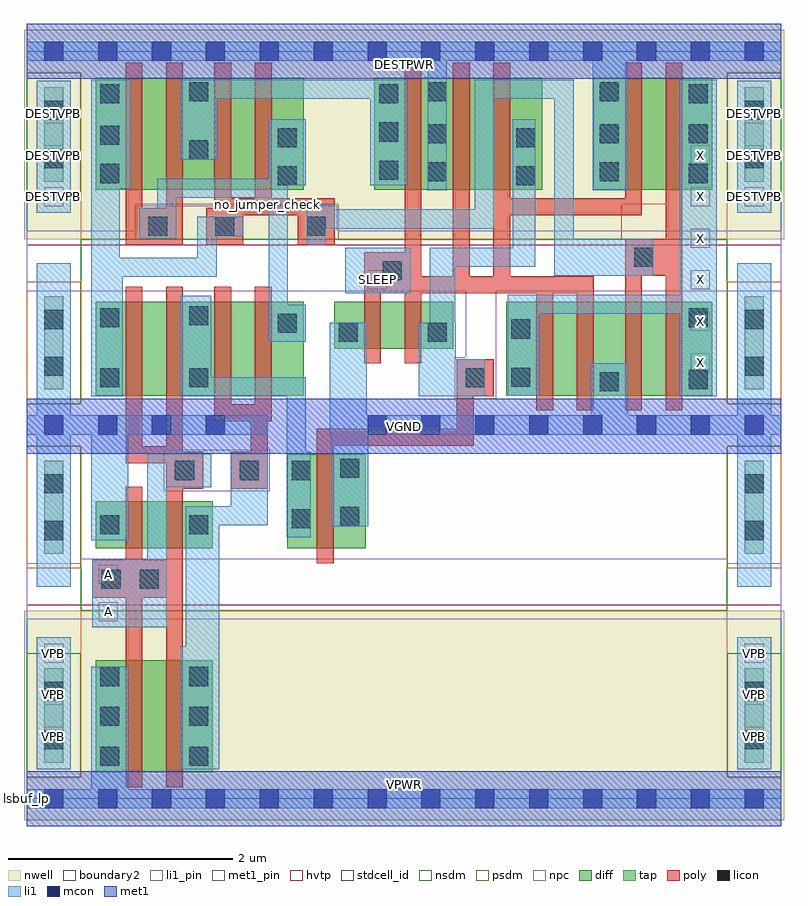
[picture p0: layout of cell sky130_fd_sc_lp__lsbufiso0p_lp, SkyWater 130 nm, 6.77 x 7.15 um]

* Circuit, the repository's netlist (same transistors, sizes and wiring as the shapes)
* Copyright 2020 The SkyWater PDK Authors
*
* Licensed under the Apache License, Version 2.0 (the "License");
* you may not use this file except in compliance with the License.
* You may obtain a copy of the License at
*
*     https://www.apache.org/licenses/LICENSE-2.0
*
* Unless required by applicable law or agreed to in writing, software
* distributed under the License is distributed on an "AS IS" BASIS,
* WITHOUT WARRANTIES OR CONDITIONS OF ANY KIND, either express or implied.
* See the License for the specific language governing permissions and
* limitations under the License.
*
* SPDX-License-Identifier: Apache-2.0

.SUBCKT sky130_fd_sc_lp__lsbufiso0p_lp A DESTPWR DESTVPB SLEEP VGND VPB VPWR X
*.PININFO A:I DESTPWR:I DESTVPB:I SLEEP:I VGND:I VPB:I VPWR:I X:O
MI2 cross2 cross1 sndP1a DESTVPB sky130_fd_pr__pfet_01v8_hvt m=1 w=1.0U l=0.15U mult=1
+ sa=0.265 sb=0.265 sd=0.28 area=0.063 perim=1.14
MI3 cross1 cross2 sndP2a DESTVPB sky130_fd_pr__pfet_01v8_hvt m=1 w=1.0U l=0.15U mult=1
+ sa=0.265 sb=0.265 sd=0.28 area=0.063 perim=1.14
MI18 sndP1a cross1 net84 DESTVPB sky130_fd_pr__pfet_01v8_hvt m=1 w=1.0U l=0.15U mult=1
+ sa=0.265 sb=0.265 sd=0.28 area=0.063 perim=1.14
MI20 Ab A net80 VPB sky130_fd_pr__pfet_01v8_hvt m=1 w=1.0U l=0.15U mult=1 sa=0.265
+ sb=0.265 sd=0.28 area=0.063 perim=1.14
MI7 net80 A VPWR VPB sky130_fd_pr__pfet_01v8_hvt m=1 w=1.0U l=0.15U mult=1 sa=0.265
+ sb=0.265 sd=0.28 area=0.063 perim=1.14
MI15 net73 SLEEP DESTPWR DESTVPB sky130_fd_pr__pfet_01v8_hvt m=1 w=1.0U l=0.15U mult=1
+ sa=0.265 sb=0.265 sd=0.28 area=0.063 perim=1.14
MI34 sleepb SLEEP net68 DESTVPB sky130_fd_pr__pfet_01v8_hvt m=1 w=1.0U l=0.15U mult=1
+ sa=0.265 sb=0.265 sd=0.28 area=0.063 perim=1.14
MI33 net68 SLEEP DESTPWR DESTVPB sky130_fd_pr__pfet_01v8_hvt m=1 w=1.0U l=0.15U mult=1
+ sa=0.265 sb=0.265 sd=0.28 area=0.063 perim=1.14
MI19 sndP2a cross2 net84 DESTVPB sky130_fd_pr__pfet_01v8_hvt m=1 w=1.0U l=0.15U mult=1
+ sa=0.265 sb=0.265 sd=0.28 area=0.063 perim=1.14
MI29 net84 SLEEP DESTPWR DESTVPB sky130_fd_pr__pfet_01v8_hvt m=1 w=1.0U l=0.15U mult=1
+ sa=0.265 sb=0.265 sd=0.28 area=0.063 perim=1.14
MI24 X cross2 net73 DESTVPB sky130_fd_pr__pfet_01v8_hvt m=1 w=1.0U l=0.15U mult=1
+ sa=0.265 sb=0.265 sd=0.28 area=0.063 perim=1.14
MI5 cross1 Ab net105 VGND sky130_fd_pr__nfet_01v8 m=1 w=0.84U l=0.15U mult=1 sa=0.265
+ sb=0.265 sd=0.28 area=0.063 perim=1.14
MI4 cross2 A net113 VGND sky130_fd_pr__nfet_01v8 m=1 w=0.84U l=0.15U mult=1 sa=0.265
+ sb=0.265 sd=0.28 area=0.063 perim=1.14
MI8 net137 A VGND VGND sky130_fd_pr__nfet_01v8 m=1 w=0.42U l=0.15U mult=1 sa=0.265
+ sb=0.265 sd=0.28 area=0.063 perim=1.14
MI16 net100 cross2 VGND VGND sky130_fd_pr__nfet_01v8 m=1 w=0.84U l=0.15U mult=1
+ sa=0.265 sb=0.265 sd=0.28 area=0.063 perim=1.14
MI36 net129 SLEEP VGND VGND sky130_fd_pr__nfet_01v8 m=1 w=0.42U l=0.15U mult=1
+ sa=0.265 sb=0.265 sd=0.28 area=0.063 perim=1.14
MI35 sleepb SLEEP net129 VGND sky130_fd_pr__nfet_01v8 m=1 w=0.42U l=0.15U mult=1
+ sa=0.265 sb=0.265 sd=0.28 area=0.063 perim=1.14
MI23 Ab A net137 VGND sky130_fd_pr__nfet_01v8 m=1 w=0.42U l=0.15U mult=1 sa=0.265
+ sb=0.265 sd=0.28 area=0.063 perim=1.14
MI32 net108 SLEEP VGND VGND sky130_fd_pr__nfet_01v8 m=1 w=0.84U l=0.15U mult=1
+ sa=0.265 sb=0.265 sd=0.28 area=0.063 perim=1.14
MI21 net113 A net112 VGND sky130_fd_pr__nfet_01v8 m=1 w=0.84U l=0.15U mult=1 sa=0.265
+ sb=0.265 sd=0.28 area=0.063 perim=1.14
MI31 X SLEEP net108 VGND sky130_fd_pr__nfet_01v8 m=1 w=0.84U l=0.15U mult=1 sa=0.265
+ sb=0.265 sd=0.28 area=0.063 perim=1.14
MI22 net105 Ab net112 VGND sky130_fd_pr__nfet_01v8 m=1 w=0.84U l=0.15U mult=1 sa=0.265
+ sb=0.265 sd=0.28 area=0.063 perim=1.14
MI25 X cross2 net100 VGND sky130_fd_pr__nfet_01v8 m=1 w=0.84U l=0.15U mult=1 sa=0.265
+ sb=0.265 sd=0.28 area=0.063 perim=1.14
MI27 net112 sleepb VGND VGND sky130_fd_pr__nfet_01v8 m=1 w=0.84U l=0.15U mult=1
+ sa=0.265 sb=0.265 sd=0.28 area=0.063 perim=1.14
.ENDS sky130_fd_sc_lp__lsbufiso0p_lp

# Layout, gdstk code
import gdstk
lib = gdstk.Library(unit=1e-6, precision=1e-09)
def R(c, l, rs):  # rectangles x0, y0, x1, y1
    for r in rs: c.add(gdstk.rectangle(r[:2], r[2:], *l))
def A(c, l, x, y, w, h, nx, ny, dx, dy):  # array of equal rectangles
    R(c, l, [(x+i*dx, y+j*dy, x+i*dx+w, y+j*dy+h) for i in range(nx) for j in range(ny)])
def P(c, l, *ps):  # polygons
    for p in ps: c.add(gdstk.Polygon(p, *l))
nwell = (64, 20)
diff = (65, 20)
tap = (65, 44)
poly = (66, 20)
licon = (66, 44)
li1_pin = (67, 16)
li1 = (67, 20)
mcon = (67, 44)
met1_pin = (68, 16)
met1 = (68, 20)
hvtp = (78, 44)
stdcell_id = (81, 4)
nsdm = (93, 44)
psdm = (94, 20)
npc = (95, 20)
boundary2 = (236, 0)

sky130_fd_sc_lp__lsbufis = lib.new_cell('sky130_fd_sc_lp__lsbufiso0p_lp')
R(sky130_fd_sc_lp__lsbufis, nwell, [(-0.025,-0.19,6.745,1.675), (-0.025,4.985,6.745,6.85)])
R(sky130_fd_sc_lp__lsbufis, diff, [(0.615,0.235,1.655,1.235), (0.615,2.23,1.655,2.65), (2.32,2.23,3.02,3.07), (0.615,3.59,2.465,4.43), (4.27,3.59,6.105,4.43), (2.74,4.01,3.8,4.43), (0.615,5.425,2.465,6.425), (3.095,5.425,4.59,6.425), (5.045,5.425,6.105,6.425)])
R(sky130_fd_sc_lp__lsbufis, tap, [(0.155,0.32,0.325,1.165), (6.395,0.32,6.565,1.165), (0.155,2.185,0.325,3.01), (6.395,2.185,6.565,3.01), (0.155,3.65,0.325,4.475), (6.395,3.65,6.565,4.475), (0.155,5.495,0.325,6.34), (6.395,5.495,6.565,6.34)])
P(sky130_fd_sc_lp__lsbufis, poly, [(1.39,6.555),(1.24,6.555),(1.24,5.265),(1.03,5.265),(1.03,6.555),(0.88,6.555),(0.88,4.935),(1.39,4.935)],
  [(1.57,3.09),(1.39,3.09),(1.39,4.56),(1.24,4.56),(1.24,3.14),(1.03,3.14),(1.03,4.56),(0.88,4.56),(0.88,2.99),(1.24,2.99),(1.24,2.13),(1.03,2.13),(1.03,2.78),(0.88,2.78),(0.88,2.13),(0.585,2.13),(0.585,1.79),(0.88,1.79),(0.88,0.105),(1.03,0.105),(1.03,1.79),(1.24,1.79),(1.24,0.105),(1.39,0.105),(1.39,2.76),(1.57,2.76)],
  [(2.18,4.56),(2.03,4.56),(2.03,3.515),(1.82,3.515),(1.82,4.56),(1.67,4.56),(1.67,3.365),(1.995,3.365),(1.995,3.09),(1.815,3.09),(1.815,2.76),(2.145,2.76),(2.145,3.365),(2.18,3.365)],
  [(2.745,5.35),(2.18,5.35),(2.18,6.555),(2.03,6.555),(2.03,5.35),(1.82,5.35),(1.82,6.555),(1.67,6.555),(1.67,5.265),(1.6,5.265),(1.6,4.935),(1.93,4.935),(1.93,5.2),(2.415,5.2),(2.415,4.935),(2.745,4.935)],
  [(4.16,3.915),(3.83,3.915),(3.83,3.295),(2.585,3.295),(2.585,2.1),(2.735,2.1),(2.735,3.145),(3.98,3.145),(3.98,3.585),(4.16,3.585)],
  [(5.48,6.555),(5.33,6.555),(5.33,5.35),(4.305,5.35),(4.305,6.555),(4.155,6.555),(4.155,4.655),(3.945,4.655),(3.945,6.555),(3.795,6.555),(3.795,4.655),(3.515,4.655),(3.515,6.555),(3.365,6.555),(3.365,4.87),(3.005,4.87),(3.005,3.88),(3.155,3.88),(3.155,4.505),(3.365,4.505),(3.365,3.88),(3.515,3.88),(3.515,4.505),(4.54,4.505),(4.54,3.46),(4.69,3.46),(4.69,4.505),(4.9,4.505),(4.9,3.46),(5.05,3.46),(5.05,4.655),(4.305,4.655),(4.305,5.2),(5.48,5.2)],
  [(5.84,6.555),(5.69,6.555),(5.69,4.99),(5.33,4.99),(5.33,3.46),(5.48,3.46),(5.48,4.66),(5.69,4.66),(5.69,3.46),(5.84,3.46)])
A(sky130_fd_sc_lp__lsbufis, licon, 0.655, 0.295, 0.17, 0.17, 1, 3, 0, 0.355)
A(sky130_fd_sc_lp__lsbufis, licon, 1.445, 0.295, 0.17, 0.17, 1, 3, 0, 0.355)
A(sky130_fd_sc_lp__lsbufis, licon, 5.895, 5.485, 0.17, 0.17, 1, 3, 0, 0.355)
A(sky130_fd_sc_lp__lsbufis, licon, 3.14, 5.515, 0.17, 0.17, 1, 3, 0, 0.34)
R(sky130_fd_sc_lp__lsbufis, licon, [(0.155,0.44,0.325,0.61), (6.395,0.44,6.565,0.61), (0.155,0.875,0.325,1.045), (6.395,0.875,6.565,1.045), (0.665,1.87,0.835,2.04), (1.005,1.87,1.175,2.04), (0.155,2.305,0.325,2.475), (6.395,2.305,6.565,2.475), (0.655,2.355,0.825,2.525), (1.445,2.355,1.615,2.525), (2.36,2.41,2.53,2.58), (2.79,2.43,2.96,2.6), (0.155,2.72,0.325,2.89), (6.395,2.72,6.565,2.89), (1.32,2.84,1.49,3.01), (1.895,2.84,2.065,3.01), (2.36,2.84,2.53,3.01), (2.79,2.86,2.96,3.03), (5.105,3.63,5.275,3.8), (5.895,3.65,6.065,3.82), (0.655,3.665,0.825,3.835), (1.445,3.665,1.615,3.835), (3.91,3.665,4.08,3.835), (4.315,3.67,4.485,3.84), (0.155,3.77,0.325,3.94), (6.395,3.77,6.565,3.94), (2.78,4.07,2.95,4.24), (3.57,4.07,3.74,4.24), (4.315,4.1,4.485,4.27), (2.235,4.15,2.405,4.32), (0.155,4.185,0.325,4.355), (6.395,4.185,6.565,4.355), (0.655,4.2,0.825,4.37), (5.895,4.2,6.065,4.37), (1.445,4.22,1.615,4.39), (3.17,4.62,3.34,4.79), (5.41,4.74,5.58,4.91), (1.08,5.015,1.25,5.185), (1.68,5.015,1.85,5.185), (2.495,5.015,2.665,5.185), (2.235,5.465,2.405,5.635), (4.36,5.465,4.53,5.635), (0.655,5.485,0.825,5.655), (3.57,5.5,3.74,5.67), (5.105,5.5,5.275,5.67), (0.155,5.615,0.325,5.785), (6.395,5.615,6.565,5.785), (1.445,5.695,1.615,5.865), (2.235,5.805,2.405,5.975), (4.36,5.805,4.53,5.975), (0.655,5.825,0.825,5.995), (3.57,5.84,3.74,6.01), (5.105,5.84,5.275,6.01), (0.155,6.05,0.325,6.22), (6.395,6.05,6.565,6.22), (0.655,6.195,0.825,6.365), (1.445,6.215,1.615,6.385), (3.57,6.215,3.74,6.385), (5.105,6.215,5.275,6.385)])
A(sky130_fd_sc_lp__lsbufis, li1_pin, 0.155, 0.47, 0.17, 0.17, 1, 3, 0, 0.37)
A(sky130_fd_sc_lp__lsbufis, li1_pin, 6.395, 0.47, 0.17, 0.17, 1, 3, 0, 0.37)
A(sky130_fd_sc_lp__lsbufis, li1_pin, 5.915, 3.8, 0.17, 0.17, 1, 6, 0, 0.37)
A(sky130_fd_sc_lp__lsbufis, li1_pin, 0.155, 5.28, 0.17, 0.17, 1, 3, 0, 0.37)
A(sky130_fd_sc_lp__lsbufis, li1_pin, 6.395, 5.28, 0.17, 0.17, 1, 3, 0, 0.37)
R(sky130_fd_sc_lp__lsbufis, li1_pin, [(0.64,1.58,0.81,1.75), (0.64,1.915,0.81,2.085), (3.035,4.54,3.205,4.71)])
R(sky130_fd_sc_lp__lsbufis, li1, [(0.09,0.265,0.39,1.44), (6.33,0.265,6.63,1.44), (2.835,4.505,3.42,4.91), (0.09,5.22,0.39,6.395), (6.33,5.22,6.63,6.395)])
P(sky130_fd_sc_lp__lsbufis, li1, [(6.72,0.085),(0.905,0.085),(0.905,1.175),(0.575,1.175),(0.575,0.085),(0,0.085),(0,-0.085),(6.72,-0.085)],
  [(1.93,5.185),(1.52,5.185),(1.52,4.82),(0.83,4.82),(0.83,5.435),(0.925,5.435),(0.925,6.405),(0.575,6.405),(0.575,3.585),(0.855,3.585),(0.855,4.65),(1.69,4.65),(1.69,5.01),(1.93,5.01)],
  [(2.145,3.415),(0.39,3.415),(0.39,4.77),(0.09,4.77),(0.09,3.415),(0,3.415),(0,3.245),(0.09,3.245),(0.09,1.89),(0.39,1.89),(0.39,3.245),(0.575,3.245),(0.575,2.305),(0.905,2.305),(0.905,3.245),(2.145,3.245)],
  [(2.145,3.075),(1.815,3.075),(1.815,2.605),(1.415,2.605),(1.415,1.36),(1.365,1.36),(1.365,0.265),(1.715,0.265),(1.715,2.435),(2.145,2.435)],
  [(2.485,4.4),(2.325,4.4),(2.325,5.465),(2.485,5.465),(2.485,6.055),(2.155,6.055),(2.155,5.525),(1.16,5.525),(1.16,5.265),(1,5.265),(1,4.99),(1.33,4.99),(1.33,5.355),(2.155,5.355),(2.155,4.07),(2.485,4.07)],
  [(2.53,3.09),(2.485,3.09),(2.485,3.755),(1.645,3.755),(1.645,4.48),(1.365,4.48),(1.365,3.585),(2.315,3.585),(2.315,2.33),(2.53,2.33)],
  [(3.39,6.405),(1.365,6.405),(1.365,5.695),(1.695,5.695),(1.695,6.235),(3.06,6.235),(3.06,5.465),(3.39,5.465)],
  [(4.53,6.055),(4.33,6.055),(4.33,4.91),(3.59,4.91),(3.59,4.24),(3.49,4.24),(3.49,3.585),(4.08,3.585),(4.08,3.915),(3.82,3.915),(3.82,4.24),(3.815,4.24),(3.815,4.74),(4.53,4.74)],
  [(5.58,4.99),(4.87,4.99),(4.87,6.405),(3.99,6.405),(3.99,5.25),(2.745,5.25),(2.745,5.295),(2.495,5.295),(2.495,4.935),(2.665,4.935),(2.665,5.08),(4.16,5.08),(4.16,6.235),(4.7,6.235),(4.7,4.66),(5.58,4.66)],
  [(1.645,3.075),(1.075,3.075),(1.075,2.135),(0.585,2.135),(0.585,1.53),(1.245,1.53),(1.245,2.775),(1.645,2.775)],
  [(6.72,6.745),(0,6.745),(0,6.575),(3.57,6.575),(3.57,5.42),(3.74,5.42),(3.74,6.575),(5.04,6.575),(5.04,5.42),(5.355,5.42),(5.355,6.575),(6.72,6.575)],
  [(6.72,3.415),(6.63,3.415),(6.63,4.77),(6.33,4.77),(6.33,3.415),(5.355,3.415),(5.355,3.88),(5.025,3.88),(5.025,3.415),(3.03,3.415),(3.03,4.24),(2.7,4.24),(2.7,3.245),(2.71,3.245),(2.71,2.43),(3.04,2.43),(3.04,3.245),(6.33,3.245),(6.33,1.89),(6.63,1.89),(6.63,3.245),(6.72,3.245)],
  [(6.145,6.405),(5.815,6.405),(5.815,4.49),(4.285,4.49),(4.285,3.59),(4.565,3.59),(4.565,4.32),(5.815,4.32),(5.815,3.585),(6.145,3.585)])
A(sky130_fd_sc_lp__lsbufis, mcon, 0.155, -0.085, 0.17, 0.17, 14, 2, 0.48, 6.66)
A(sky130_fd_sc_lp__lsbufis, mcon, 0.155, 3.245, 0.17, 0.17, 4, 1, 0.48, 0)
A(sky130_fd_sc_lp__lsbufis, mcon, 3.035, 3.245, 0.17, 0.17, 8, 1, 0.48, 0)
R(sky130_fd_sc_lp__lsbufis, met1_pin, [(0,0,6.72,0.245), (0,3.075,6.72,3.565), (0,6.415,6.72,6.66)])
R(sky130_fd_sc_lp__lsbufis, met1, [(0,-0.245,6.72,0.245), (0,3.075,6.72,3.565), (0,6.415,6.72,6.905)])
R(sky130_fd_sc_lp__lsbufis, hvtp, [(0,0,6.72,1.73), (0,4.93,6.72,6.66)])
R(sky130_fd_sc_lp__lsbufis, stdcell_id, [(0,0,6.72,6.66)])
R(sky130_fd_sc_lp__lsbufis, nsdm, [(0,0.19,0.48,1.295), (6.24,0.19,6.72,1.295), (0,5.365,0.48,6.47), (6.24,5.365,6.72,6.47)])
P(sky130_fd_sc_lp__lsbufis, nsdm, [(6.72,3.52),(6.24,3.52),(6.24,4.985),(0.48,4.985),(0.48,3.52),(0,3.52),(0,3.14),(0.48,3.14),(0.48,1.675),(6.24,1.675),(6.24,3.14),(6.72,3.14)])
R(sky130_fd_sc_lp__lsbufis, psdm, [(0,2.055,0.48,3.14), (6.24,2.055,6.72,3.14), (0,3.52,0.48,4.605), (6.24,3.52,6.72,4.605)])
P(sky130_fd_sc_lp__lsbufis, psdm, [(6.72,6.85),(0,6.85),(0,6.47),(0.48,6.47),(0.48,4.985),(0.97,4.985),(0.97,5.295),(2.775,5.295),(2.775,4.985),(5.3,4.985),(5.3,5.295),(5.69,5.295),(5.69,4.985),(6.24,4.985),(6.24,6.47),(6.72,6.47)],
  [(6.72,0.19),(6.24,0.19),(6.24,1.675),(0.48,1.675),(0.48,0.19),(0,0.19),(0,-0.19),(6.72,-0.19)])
R(sky130_fd_sc_lp__lsbufis, npc, [(1.22,2.74,2.165,3.11)])
P(sky130_fd_sc_lp__lsbufis, npc, [(6.72,5.06),(2.765,5.06),(2.765,5.285),(0.98,5.285),(0.98,5.06),(0,5.06),(0,4.52),(3.91,4.52),(3.91,3.935),(3.81,3.935),(3.81,3.565),(4.18,3.565),(4.18,4.52),(6.72,4.52)],
  [(6.72,2.1),(6.24,2.1),(6.24,2.14),(0.48,2.14),(0.48,2.1),(0,2.1),(0,1.6),(6.72,1.6)])
R(sky130_fd_sc_lp__lsbufis, boundary2, [(0,0,6.72,6.66)])
sky130_fd_sc_lp__lsbufis.add(gdstk.Label('X', (6,3.885), layer=67, texttype=5))
sky130_fd_sc_lp__lsbufis.add(gdstk.Label('X', (6,4.255), layer=67, texttype=5))
sky130_fd_sc_lp__lsbufis.add(gdstk.Label('X', (6,5.735), layer=67, texttype=5))
sky130_fd_sc_lp__lsbufis.add(gdstk.Label('X', (6,5.365), layer=67, texttype=5))
sky130_fd_sc_lp__lsbufis.add(gdstk.Label('X', (6,4.995), layer=67, texttype=5))
sky130_fd_sc_lp__lsbufis.add(gdstk.Label('A', (0.725,2), layer=67, texttype=5))
sky130_fd_sc_lp__lsbufis.add(gdstk.Label('X', (6,4.625), layer=67, texttype=5))
sky130_fd_sc_lp__lsbufis.add(gdstk.Label('A', (0.725,1.665), layer=67, texttype=5))
sky130_fd_sc_lp__lsbufis.add(gdstk.Label('SLEEP', (3.12,4.625), layer=67, texttype=5))
sky130_fd_sc_lp__lsbufis.add(gdstk.Label('VPB', (0.24,1.295), layer=67, texttype=5))
sky130_fd_sc_lp__lsbufis.add(gdstk.Label('VPB', (0.24,0.555), layer=67, texttype=5))
sky130_fd_sc_lp__lsbufis.add(gdstk.Label('VPB', (0.24,0.925), layer=67, texttype=5))
sky130_fd_sc_lp__lsbufis.add(gdstk.Label('DESTVPB', (0.24,6.105), layer=67, texttype=5))
sky130_fd_sc_lp__lsbufis.add(gdstk.Label('DESTVPB', (0.24,5.735), layer=67, texttype=5))
sky130_fd_sc_lp__lsbufis.add(gdstk.Label('VPB', (6.48,0.555), layer=67, texttype=5))
sky130_fd_sc_lp__lsbufis.add(gdstk.Label('VPB', (6.48,0.925), layer=67, texttype=5))
sky130_fd_sc_lp__lsbufis.add(gdstk.Label('DESTVPB', (6.48,6.105), layer=67, texttype=5))
sky130_fd_sc_lp__lsbufis.add(gdstk.Label('DESTVPB', (6.48,5.735), layer=67, texttype=5))
sky130_fd_sc_lp__lsbufis.add(gdstk.Label('DESTVPB', (6.48,5.365), layer=67, texttype=5))
sky130_fd_sc_lp__lsbufis.add(gdstk.Label('VPB', (6.48,1.295), layer=67, texttype=5))
sky130_fd_sc_lp__lsbufis.add(gdstk.Label('DESTVPB', (0.24,5.365), layer=67, texttype=5))
sky130_fd_sc_lp__lsbufis.add(gdstk.Label('lsbuf_lp', (0,0), layer=83, texttype=44))
sky130_fd_sc_lp__lsbufis.add(gdstk.Label('no_jumper_check', (2.145,5.29), layer=83, texttype=44))
sky130_fd_sc_lp__lsbufis.add(gdstk.Label('VPWR', (3.36,0.125), layer=68, texttype=5))
sky130_fd_sc_lp__lsbufis.add(gdstk.Label('DESTPWR', (3.36,6.54), layer=68, texttype=5))
sky130_fd_sc_lp__lsbufis.add(gdstk.Label('VGND', (3.36,3.32), layer=68, texttype=5))

lib.write_gds('sky130_fd_sc_lp__lsbufiso0p_lp.gds')
